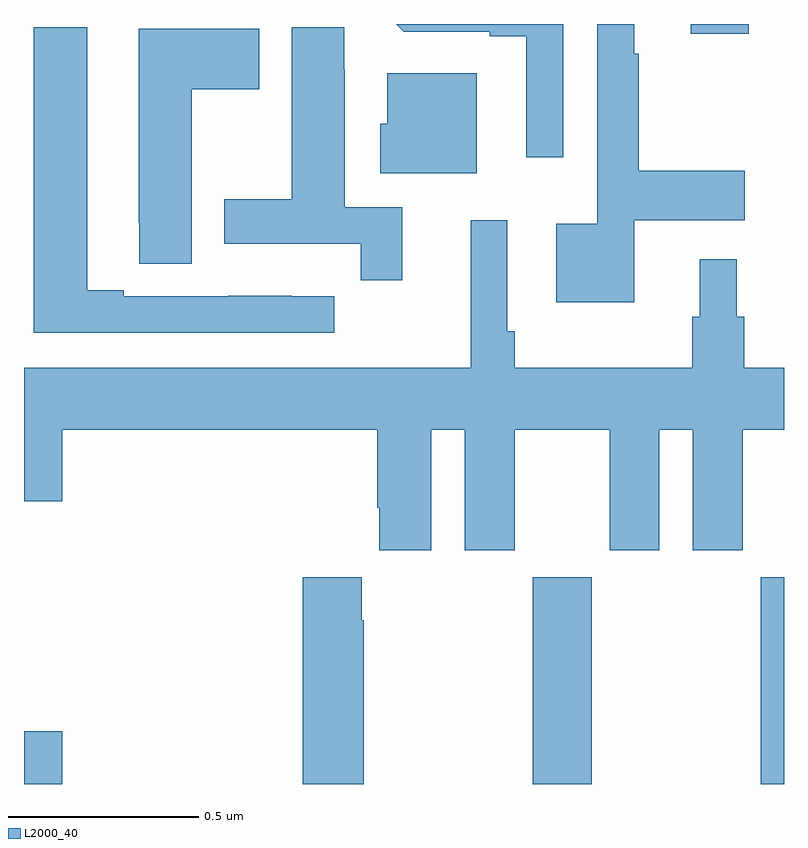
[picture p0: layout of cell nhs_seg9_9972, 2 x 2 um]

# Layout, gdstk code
import gdstk
lib = gdstk.Library(unit=1e-6, precision=1e-09)
def R(c, l, rs):  # rectangles x0, y0, x1, y1
    for r in rs: c.add(gdstk.rectangle(r[:2], r[2:], *l))
def P(c, l, *ps):  # polygons
    for p in ps: c.add(gdstk.Polygon(p, *l))
L2000_40 = (2000, 40)

nhs_seg9_9972 = lib.new_cell('nhs_seg9_9972')
R(nhs_seg9_9972, L2000_40, [(237,1183.5,237.1,1183.639), (238.339,1183.5,238.494,1184.044), (238.939,1183.5,239,1184.044), (238.754,1185.474,238.907,1185.5)])
P(nhs_seg9_9972, L2000_40, [(238.606,1184.984),(238.897,1184.984),(238.897,1185.114),(238.618,1185.114),(238.618,1185.422),(238.606,1185.422),(238.606,1185.5),(238.509,1185.5),(238.509,1184.974),(238.4,1184.974),(238.4,1184.768),(238.606,1184.768)],
  [(238.419,1185.5),(237.979,1185.5),(237.999,1185.48),(238.226,1185.48),(238.226,1185.468),(238.322,1185.468),(238.322,1185.15),(238.419,1185.15)],
  [(237.817,1184.784),(237.704,1184.784),(237.704,1184.785),(237.538,1184.785),(237.538,1184.784),(237.262,1184.784),(237.262,1184.799),(237.166,1184.799),(237.166,1185.491),(237.026,1185.491),(237.026,1184.688),(237.817,1184.688)],
  [(237.995,1185.018),(237.844,1185.018),(237.844,1185.38),(237.843,1185.38),(237.843,1185.491),(237.704,1185.491),(237.704,1185.039),(237.527,1185.039),(237.527,1184.922),(237.886,1184.922),(237.886,1184.826),(237.995,1184.826)],
  [(237.442,1185.328),(237.619,1185.328),(237.619,1185.487),(237.302,1185.487),(237.302,1184.977),(237.303,1184.977),(237.303,1184.869),(237.442,1184.869)],
  [(238.192,1185.37),(237.956,1185.37),(237.956,1185.237),(237.938,1185.237),(237.938,1185.107),(238.192,1185.107)],
  [(238.072,1184.432),(238.16,1184.432),(238.16,1184.115),(238.291,1184.115),(238.291,1184.432),(238.541,1184.432),(238.541,1184.115),(238.672,1184.115),(238.672,1184.432),(238.76,1184.432),(238.76,1184.115),(238.891,1184.115),(238.891,1184.432),(239,1184.432),(239,1184.596),(238.895,1184.596),(238.895,1184.73),(238.876,1184.73),(238.876,1184.881),(238.778,1184.881),(238.778,1184.73),(238.759,1184.73),(238.759,1184.596),(238.292,1184.596),(238.292,1184.692),(238.272,1184.692),(238.272,1184.983),(238.175,1184.983),(238.175,1184.596),(237,1184.596),(237,1184.244),(237.1,1184.244),(237.1,1184.432),(237.929,1184.432),(237.929,1184.227),(237.935,1184.227),(237.935,1184.115),(238.072,1184.115)],
  [(237.894,1183.931),(237.889,1183.931),(237.889,1184.044),(237.734,1184.044),(237.734,1183.5),(237.894,1183.5)])

lib.write_gds('nhs_seg9_9972.gds')
